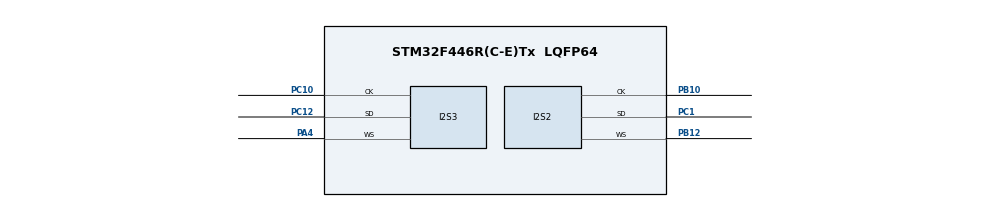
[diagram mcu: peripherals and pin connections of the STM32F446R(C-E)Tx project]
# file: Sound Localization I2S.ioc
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Dma.Request0=SPI2_RX
Dma.Request1=SPI3_RX
Dma.SPI2_RX.0.Direction=DMA_PERIPH_TO_MEMORY
Dma.SPI2_RX.0.FIFOMode=DMA_FIFOMODE_DISABLE
Dma.SPI2_RX.0.Instance=DMA1_Stream3
Dma.SPI2_RX.0.MemDataAlignment=DMA_MDATAALIGN_WORD
Dma.SPI2_RX.0.MemInc=DMA_MINC_ENABLE
Dma.SPI2_RX.0.Mode=DMA_CIRCULAR
Dma.SPI2_RX.0.PeriphDataAlignment=DMA_PDATAALIGN_WORD
Dma.SPI2_RX.0.PeriphInc=DMA_PINC_DISABLE
Dma.SPI2_RX.0.Priority=DMA_PRIORITY_VERY_HIGH
Dma.SPI3_RX.1.Direction=DMA_PERIPH_TO_MEMORY
Dma.SPI3_RX.1.FIFOMode=DMA_FIFOMODE_DISABLE
Dma.SPI3_RX.1.Instance=DMA1_Stream0
Dma.SPI3_RX.1.MemDataAlignment=DMA_MDATAALIGN_WORD
Dma.SPI3_RX.1.MemInc=DMA_MINC_ENABLE
Dma.SPI3_RX.1.Mode=DMA_CIRCULAR
Dma.SPI3_RX.1.PeriphDataAlignment=DMA_PDATAALIGN_WORD
Dma.SPI3_RX.1.PeriphInc=DMA_PINC_DISABLE
Dma.SPI3_RX.1.Priority=DMA_PRIORITY_VERY_HIGH
I2S2.AudioFreq=AudioFreqCustomValue
I2S2.AudioFreqCustom=44100
I2S2.ClockSource-Half_Duplex_Master=I2S_CLOCK_PLLR
I2S2.DataFormat=I2S_DATAFORMAT_24B
I2S2.ErrorAudioFreq=0.24 %
I2S2.FullDuplexMode=I2S_FULLDUPLEXMODE_DISABLE
I2S2.Instance=SPI$Index
I2S2.Mode=I2S_MODE_MASTER_RX
I2S2.RealAudioFreq=44.108 KHz
I2S2.VirtualMode=I2S_MODE_MASTER
I2S3.AudioFreq=AudioFreqCustomValue
I2S3.AudioFreqCustom=44100
I2S3.DataFormat=I2S_DATAFORMAT_24B
I2S3.ErrorAudioFreq=0.24 %
I2S3.FullDuplexMode=I2S_FULLDUPLEXMODE_DISABLE
I2S3.Instance=SPI$Index
I2S3.Mode=I2S_MODE_SLAVE_RX
I2S3.RealAudioFreq=44.108 KHz
I2S3.VirtualMode=I2S_MODE_SLAVE
Mcu.Family=STM32F4
Mcu.Name=STM32F446R(C-E)Tx
Mcu.Package=LQFP64
NVIC.DMA1_Stream0_IRQn=true\:0\:0\:false\:false\:true\:false\:true\:true
NVIC.DMA1_Stream3_IRQn=true\:0\:0\:false\:false\:true\:false\:true\:true
NVIC.PriorityGroup=NVIC_PRIORITYGROUP_4
PA4.Mode=Half_Duplex_Slave
PA4.Signal=I2S3_WS
PB10.Mode=Half_Duplex_Master
PB10.Signal=I2S2_CK
PB12.Mode=Half_Duplex_Master
PB12.Signal=I2S2_WS
PC1.Mode=Half_Duplex_Master
PC1.Signal=I2S2_SD
PC10.Mode=Half_Duplex_Slave
PC10.Signal=I2S3_CK
PC12.Mode=Half_Duplex_Slave
PC12.Signal=I2S3_SD
ProjectManager.HeapSize=0x200
ProjectManager.StackSize=0x400
ProjectManager.TargetToolchain=STM32CubeIDE
RCC.CortexFreq_Value=16000000
RCC.PLLI2SN=271
RCC.USBFreq_Value=96000000
RCC.VCOOutputFreq_Value=192000000
board=custom

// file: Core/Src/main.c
/* USER CODE BEGIN Header */
/**
  ******************************************************************************
  * @file           : main.c
  * @brief          : Sound Localization for STM32F446RE
  * I2S2 (Master) on PB10/PB12/PC1
  * I2S3 (Slave)  on PC10/PA4/PC12
  ******************************************************************************
  */
/* USER CODE END Header */
#include "main.h"

/* USER CODE BEGIN Includes */
#include <stdio.h>
#include <math.h>
#include <stdlib.h> // For abs()
/* USER CODE END Includes */

I2S_HandleTypeDef hi2s2;
I2S_HandleTypeDef hi2s3;
DMA_HandleTypeDef hdma_spi2_rx;
DMA_HandleTypeDef hdma_spi3_rx;

/* USER CODE BEGIN PV */
#define BUFFER_SIZE 256       // Process 256 samples per batch
#define THRESHOLD   1500000   // Noise Gate (Lower this if mics are quiet)
#define MIC_DIST    0.10f     // 10 cm spacing between mics
#define SPEED_SOUND 343.0f    // m/s
#define SAMPLE_RATE 44100.0f

// --- Buffers ---
// Raw DMA data (Interleaved L/R)
volatile uint32_t i2s2_buff[BUFFER_SIZE]; // Carries Mic 1 (L) and Mic 2 (R)
volatile uint32_t i2s3_buff[BUFFER_SIZE]; // Carries Mic 3 (L)

// Processed channels (separated)
int32_t mic1[BUFFER_SIZE/2]; // Left Channel of I2S2
int32_t mic2[BUFFER_SIZE/2]; // Right Channel of I2S2
int32_t mic3[BUFFER_SIZE/2]; // Left Channel of I2S3
/* USER CODE END PV */

void SystemClock_Config(void);
void PeriphCommonClock_Config(void);
static void MX_GPIO_Init(void);
static void MX_DMA_Init(void);
static void MX_I2S2_Init(void);
static void MX_I2S3_Init(void);
/* USER CODE BEGIN PFP */
int calc_lag(int32_t *sig1, int32_t *sig2, int len);
/* USER CODE END PFP */

int main(void)
{

  /* MCU Configuration--------------------------------------------------------*/

  /* Reset of all peripherals, Initializes the Flash interface and the Systick. */
  HAL_Init();

  /* Configure the system clock */
  SystemClock_Config();

  /* Configure the peripherals common clocks */
  PeriphCommonClock_Config();

  /* Initialize all configured peripherals */
  MX_GPIO_Init();
  MX_DMA_Init();
  MX_I2S2_Init();
  MX_I2S3_Init();
  /* USER CODE BEGIN 2 */
  HAL_Delay(100);
  // 2. Start Recording
  // IMPORTANT: Start the SLAVE (I2S3) first, then the MASTER (I2S2).
  // If you start Master first, Slave might miss the first few clock cycles and desync.
  if(HAL_I2S_Receive_DMA(&hi2s3, (uint16_t *)i2s3_buff, BUFFER_SIZE) != HAL_OK) {
    Error_Handler();
    }
  if(HAL_I2S_Receive_DMA(&hi2s2, (uint16_t *)i2s2_buff, BUFFER_SIZE) != HAL_OK) {
    Error_Handler();
    }
  /* USER CODE END 2 */

  /* Infinite loop */
  /* USER CODE BEGIN WHILE */
  /* Infinite loop */
/* USER CODE BEGIN WHILE */
while (1)
{
  HAL_Delay(50);

  // --- Step 1: Data Separation ---
  uint64_t total_energy = 0;

  for(int i=0; i < BUFFER_SIZE/2; i++) {
    mic1[i] = (int32_t)i2s2_buff[i*2];
    mic2[i] = (int32_t)i2s2_buff[i*2+1];
    mic3[i] = (int32_t)i2s3_buff[i*2];
    total_energy += (uint64_t)abs(mic1[i]);
  }

  // --- Step 2: Noise Gate ---
  if(total_energy > THRESHOLD) {

    // --- Step 3: TDOA Calculation ---
    int lag12 = calc_lag(mic1, mic2, BUFFER_SIZE/2);
    int lag13 = calc_lag(mic1, mic3, BUFFER_SIZE/2);

    float time_delay12 = (float)lag12 / SAMPLE_RATE;
    float time_delay13 = (float)lag13 / SAMPLE_RATE;

    float d12 = time_delay12 * SPEED_SOUND;
    float d13 = time_delay13 * SPEED_SOUND;

    // --- Step 4: Analytical Hyperbolic Intersection ---
    float D = MIC_DIST;
    float sqrt3 = 1.73205f;
    float y1 = D / sqrt3; // Mic 1 Y-coordinate

    // Calculate the linear coefficients for X = alpha*r1 + beta
    float alpha = (d12 - d13) / D;
    float beta  = (d13*d13 - d12*d12) / (2.0f * D);

    // Calculate the linear coefficients for Y = gamma*r1 + delta
    float gamma = (d12 + d13) / (sqrt3 * D);
    float delta = -(d13*d13 + d12*d12) / (2.0f * sqrt3 * D);

    // Formulate the quadratic equation parameters (A*r1^2 + B*r1 + C = 0)
    float A = (alpha * alpha) + (gamma * gamma) - 1.0f;
    float B = 2.0f * (alpha * beta + gamma * (delta - y1));
    float C = (beta * beta) + (delta - y1)*(delta - y1);

    // Solve the quadratic equation for r1
    float discriminant = (B * B) - (4.0f * A * C);

    float angle_deg = 0.0f;
    float source_distance = -1.0f;

    // If discriminant < 0, the delays are physically impossible (usually hardware noise)
    if (discriminant >= 0.0f) {
      float r1 = -1.0f;

      // Handle the Far-Field limit (where A approaches 0)
      if (fabsf(A) < 0.0001f) {
        if (fabsf(B) > 0.0001f) {
          r1 = -C / B; // Linear fallback
        }
      } else {
        // Near-Field: Standard quadratic formula. Take the maximum positive root.
        float root1 = (-B + sqrtf(discriminant)) / (2.0f * A);
        float root2 = (-B - sqrtf(discriminant)) / (2.0f * A);
        r1 = (root1 > root2) ? root1 : root2;
      }

      // --- Step 5: Final Coordinate Mapping ---
      if (r1 >= 0.0f) {
        // Plug r1 back into our algebraic reductions
        float final_X = alpha * r1 + beta;
        float final_Y = gamma * r1 + delta;

        // Calculate absolute distance from the array center
        source_distance = sqrtf(final_X * final_X + final_Y * final_Y);

        // Calculate 360-degree angle
        float angle_rad = atan2f(final_Y, final_X);
        angle_deg = angle_rad * (180.0f / 3.14159f);

        // Normalize to 0-360 range
        if (angle_deg < 0.0f) angle_deg += 360.0f;
      }
    }
    // --- Output ---
    // printf("Angle: %.1f | Distance: %.3f m | X: %.3f, Y: %.3f\n", angle_deg, source_distance, final_X, final_Y);
  }
  /* USER CODE END WHILE */
}

void SystemClock_Config(void)
{
  RCC_OscInitTypeDef RCC_OscInitStruct = {0};
  RCC_ClkInitTypeDef RCC_ClkInitStruct = {0};

  /** Macro to configure the PLL multiplication factor
  */
  __HAL_RCC_PLL_PLLM_CONFIG(16);

  /** Macro to configure the PLL clock source
  */
  __HAL_RCC_PLL_PLLSOURCE_CONFIG(RCC_PLLSOURCE_HSI);

  /** Configure the main internal regulator output voltage
  */
  __HAL_RCC_PWR_CLK_ENABLE();
  __HAL_PWR_VOLTAGESCALING_CONFIG(PWR_REGULATOR_VOLTAGE_SCALE3);

  /** Initializes the RCC Oscillators according to the specified parameters
  * in the RCC_OscInitTypeDef structure.
  */
  RCC_OscInitStruct.OscillatorType = RCC_OSCILLATORTYPE_HSI;
  RCC_OscInitStruct.HSIState = RCC_HSI_ON;
  RCC_OscInitStruct.HSICalibrationValue = RCC_HSICALIBRATION_DEFAULT;
  RCC_OscInitStruct.PLL.PLLState = RCC_PLL_NONE;
  RCC_OscInitStruct.PLL.PLLSource = RCC_PLLSOURCE_HSI;
  if (HAL_RCC_OscConfig(&RCC_OscInitStruct) != HAL_OK)
  {
    Error_Handler();
  }

  /** Initializes the CPU, AHB and APB buses clocks
  */
  RCC_ClkInitStruct.ClockType = RCC_CLOCKTYPE_HCLK|RCC_CLOCKTYPE_SYSCLK
                              |RCC_CLOCKTYPE_PCLK1|RCC_CLOCKTYPE_PCLK2;
  RCC_ClkInitStruct.SYSCLKSource = RCC_SYSCLKSOURCE_HSI;
  RCC_ClkInitStruct.AHBCLKDivider = RCC_SYSCLK_DIV1;
  RCC_ClkInitStruct.APB1CLKDivider = RCC_HCLK_DIV1;
  RCC_ClkInitStruct.APB2CLKDivider = RCC_HCLK_DIV1;

  if (HAL_RCC_ClockConfig(&RCC_ClkInitStruct, FLASH_LATENCY_0) != HAL_OK)
  {
    Error_Handler();
  }
}

void PeriphCommonClock_Config(void)
{
  RCC_PeriphCLKInitTypeDef PeriphClkInitStruct = {0};

  /** Initializes the peripherals clock
  */
  PeriphClkInitStruct.PeriphClockSelection = RCC_PERIPHCLK_I2S_APB1;
  PeriphClkInitStruct.PLLI2S.PLLI2SN = 271;
  PeriphClkInitStruct.PLLI2S.PLLI2SP = RCC_PLLI2SP_DIV2;
  PeriphClkInitStruct.PLLI2S.PLLI2SM = 16;
  PeriphClkInitStruct.PLLI2S.PLLI2SR = 2;
  PeriphClkInitStruct.PLLI2S.PLLI2SQ = 2;
  PeriphClkInitStruct.PLLI2SDivQ = 1;
  PeriphClkInitStruct.I2sApb1ClockSelection = RCC_I2SAPB1CLKSOURCE_PLLI2S;
  if (HAL_RCCEx_PeriphCLKConfig(&PeriphClkInitStruct) != HAL_OK)
  {
    Error_Handler();
  }
}

static void MX_I2S2_Init(void)
{

  hi2s2.Instance = SPI2;
  hi2s2.Init.Mode = I2S_MODE_MASTER_RX;
  hi2s2.Init.Standard = I2S_STANDARD_PHILIPS;
  hi2s2.Init.DataFormat = I2S_DATAFORMAT_24B;
  hi2s2.Init.MCLKOutput = I2S_MCLKOUTPUT_DISABLE;
  hi2s2.Init.AudioFreq = 44100;
  hi2s2.Init.CPOL = I2S_CPOL_LOW;
  hi2s2.Init.ClockSource = I2S_CLOCK_PLL;
  hi2s2.Init.FullDuplexMode = I2S_FULLDUPLEXMODE_DISABLE;
  if (HAL_I2S_Init(&hi2s2) != HAL_OK)
  {
    Error_Handler();
  }

}

static void MX_I2S3_Init(void)
{

  hi2s3.Instance = SPI3;
  hi2s3.Init.Mode = I2S_MODE_SLAVE_RX;
  hi2s3.Init.Standard = I2S_STANDARD_PHILIPS;
  hi2s3.Init.DataFormat = I2S_DATAFORMAT_24B;
  hi2s3.Init.MCLKOutput = I2S_MCLKOUTPUT_DISABLE;
  hi2s3.Init.AudioFreq = 44100;
  hi2s3.Init.CPOL = I2S_CPOL_LOW;
  hi2s3.Init.ClockSource = I2S_CLOCK_PLL;
  hi2s3.Init.FullDuplexMode = I2S_FULLDUPLEXMODE_DISABLE;
  if (HAL_I2S_Init(&hi2s3) != HAL_OK)
  {
    Error_Handler();
  }

}

static void MX_DMA_Init(void)
{

  /* DMA controller clock enable */
  __HAL_RCC_DMA1_CLK_ENABLE();

  /* DMA interrupt init */
  /* DMA1_Stream0_IRQn interrupt configuration */
  HAL_NVIC_SetPriority(DMA1_Stream0_IRQn, 0, 0);
  HAL_NVIC_EnableIRQ(DMA1_Stream0_IRQn);
  /* DMA1_Stream3_IRQn interrupt configuration */
  HAL_NVIC_SetPriority(DMA1_Stream3_IRQn, 0, 0);
  HAL_NVIC_EnableIRQ(DMA1_Stream3_IRQn);

}

static void MX_GPIO_Init(void)
{

  /* GPIO Ports Clock Enable */
  __HAL_RCC_GPIOC_CLK_ENABLE();
  __HAL_RCC_GPIOA_CLK_ENABLE();
  __HAL_RCC_GPIOB_CLK_ENABLE();

}

/* USER CODE BEGIN 4 */
// Simple Cross-Correlation to find time offset
int calc_lag(int32_t *sig1, int32_t *sig2, int len) {
  int64_t max_corr = 0;
  int best_lag = 0;

  // Search range: +/- 20 samples covers ~15cm at 44.1kHz
  int max_shift = 20;

  for (int lag = -max_shift; lag <= max_shift; lag++) {
    int64_t sum = 0;
    // Convolve the signals
    for (int i = max_shift; i < len - max_shift; i++) {
      sum += ((int64_t)sig1[i] >> 8) * ((int64_t)sig2[i + lag] >> 8);
      // Note: Bitshift >> 8 prevents int64 overflow if signals are very loud
    }

    if (sum > max_corr) {
      max_corr = sum;
      best_lag = lag;
    }
  }
  return best_lag;
}
/* USER CODE END 4 */

void Error_Handler(void)
{
  __disable_irq();
  while (1)
  {
  }
}
